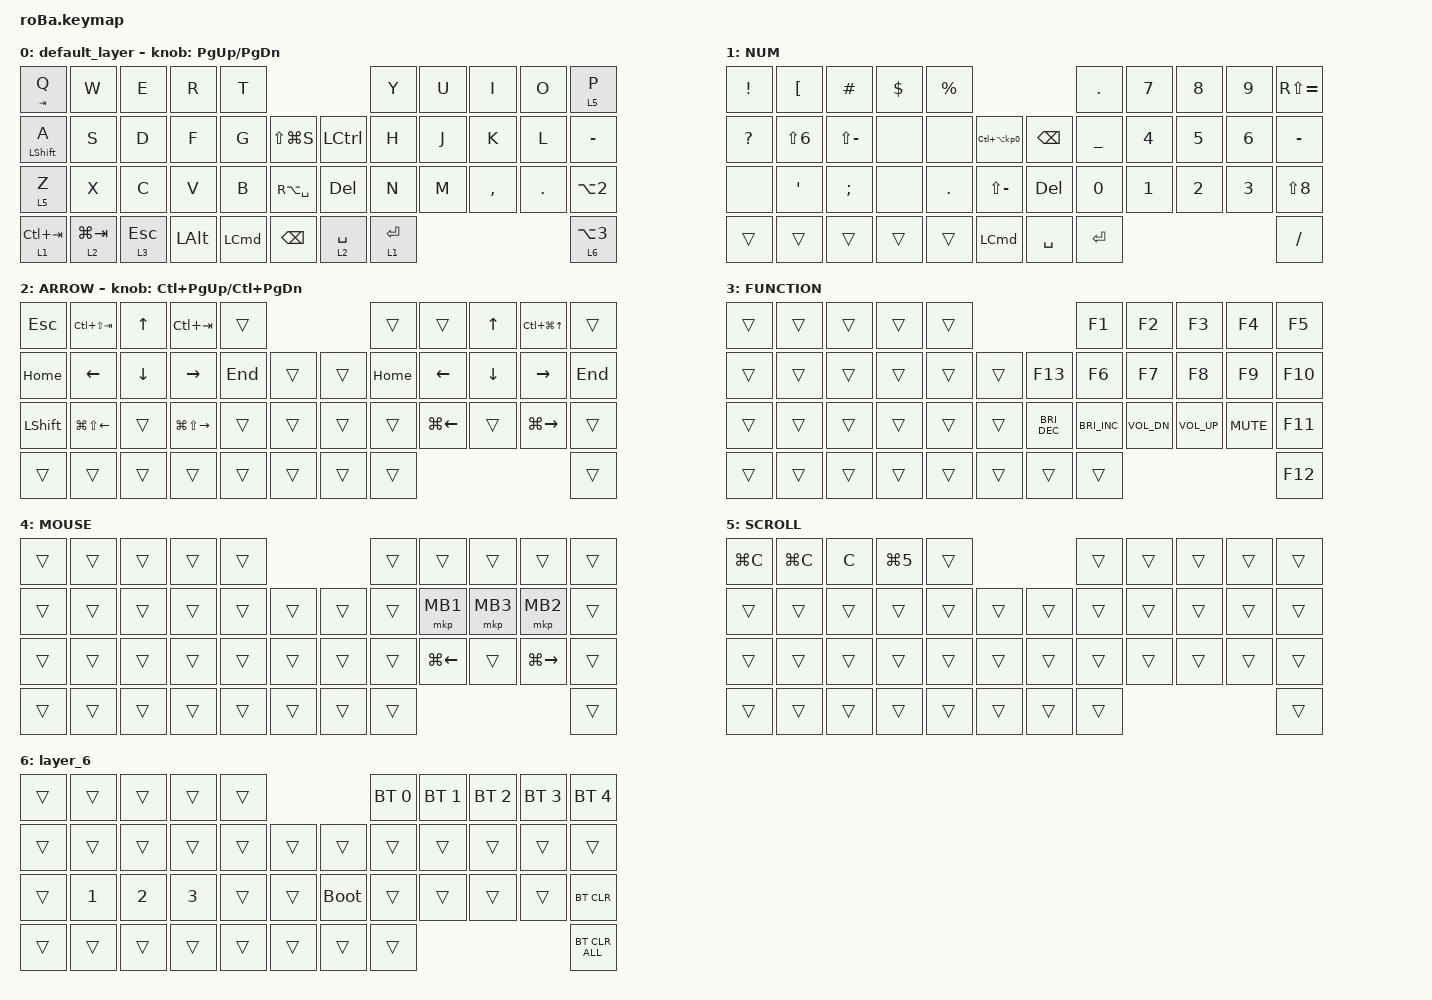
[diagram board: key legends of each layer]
#include <behaviors.dtsi>
#include <dt-bindings/zmk/bt.h>
#include <dt-bindings/zmk/keys.h>
#include <dt-bindings/zmk/pointing.h>

#define MOUSE 4
#define SCROLL 5
#define NUM 6

&mt {
    flavor = "balanced";
    quick-tap-ms = <0>;
};

/ {
    combos {
        compatible = "zmk,combos";

        left_parnethesis {
            bindings = <&kp LS(N8)>;
            key-positions = <11 12>;
        };

        right_parnenthesis {
            bindings = <&kp LS(N9)>;
            key-positions = <19 20>;
        };

        atmark {
            bindings = <&kp LS(NUMBER_2)>;
            key-positions = <13 12>;
        };

        tab {
            bindings = <&kp C_AL_DATABASE>;
            key-positions = <10 11>;
        };
    };

    macros {
        to_layer_0: to_layer_0 {
            compatible = "zmk,behavior-macro-one-param";
            #binding-cells = <1>;
            bindings = <&to 0 &macro_param_1to1 &kp MACRO_PLACEHOLDER>;
            label = "TO_LAYER_0";
        };
    };

    behaviors {
        lt_to_layer_0: lt_to_layer_0 {
            compatible = "zmk,behavior-hold-tap";
            label = "LAYER_TAP_TO_0";
            bindings = <&mo>, <&to_layer_0>;

            #binding-cells = <2>;
            tapping-term-ms = <200>;
        };
    };

    keymap {
        compatible = "zmk,keymap";

        default_layer {
            bindings = <
&mt TAB Q                 &kp W          &kp E         &kp R         &kp T                                             &kp Y        &kp U  &kp I      &kp O       &lt 5 P
&mt LEFT_SHIFT A          &kp S          &kp D         &kp F         &kp G             &kp LS(LG(S))      &kp LCTRL    &kp H        &kp J  &kp K      &kp L       &kp MINUS
&lt 5 Z                   &kp X          &kp C         &kp V         &kp B             &kp RA(SPACE)      &kp DEL      &kp N        &kp M  &kp COMMA  &kp PERIOD  &kp LA(NUMBER_2)
&lt_to_layer_0 1 LC(TAB)  &lt 2 LG(TAB)  &lt 3 ESCAPE  &kp LEFT_ALT  &kp LEFT_COMMAND  &kp BACKSPACE      &lt 2 SPACE  &lt 1 ENTER                                &lt 6 LA(NUMBER_3)
            >;

            sensor-bindings = <&inc_dec_kp PG_UP PAGE_DOWN>;
        };

        NUM {
            bindings = <
&kp EXCLAMATION  &kp LEFT_BRACKET  &kp HASH       &kp DOLLAR  &kp PERCENT                                              &kp PERIOD      &kp N7        &kp N8        &kp N9        &kp RS(EQUAL)
&kp QUESTION     &kp LS(NUMBER_6)  &kp LS(MINUS)  &none       &none        &kp LC(LA(KP_NUMBER_0))      &kp BACKSPACE  &kp UNDERSCORE  &kp NUMBER_4  &kp N5        &kp NUMBER_6  &kp MINUS
&none            &kp SQT           &kp SEMICOLON  &none       &kp PERIOD   &kp LS(MINUS)                &kp DELETE     &kp N0          &kp NUMBER_1  &kp NUMBER_2  &kp NUMBER_3  &kp LS(N8)
&trans           &trans            &trans         &trans      &trans       &kp LCMD                     &kp SPACE      &kp ENTER                                                 &kp SLASH
            >;
        };

        ARROW {
            bindings = <
&kp ESCAPE      &kp LC(LS(TAB))         &kp UP_ARROW    &kp LC(TAB)              &trans                       &trans    &trans          &kp UP_ARROW    &kp LC(LG(UP_ARROW))  &trans
&kp HOME        &kp LEFT_ARROW          &kp DOWN_ARROW  &kp RIGHT_ARROW          &kp END  &trans      &trans  &kp HOME  &kp LEFT_ARROW  &kp DOWN_ARROW  &kp RIGHT             &kp END
&kp LEFT_SHIFT  &kp LG(LS(LEFT_ARROW))  &trans          &kp LG(LS(RIGHT_ARROW))  &trans   &trans      &trans  &trans    &kp LG(LEFT)    &trans          &kp LG(RIGHT)         &trans
&trans          &trans                  &trans          &trans                   &trans   &trans      &trans  &trans                                                          &trans
            >;

            sensor-bindings = <&inc_dec_kp LC(PAGE_UP) LC(PAGE_DOWN)>;
        };

        FUNCTION {
            bindings = <
&trans  &trans  &trans  &trans  &trans                                    &kp F1                &kp F2        &kp F3           &kp F4      &kp F5
&trans  &trans  &trans  &trans  &trans  &trans      &kp F13               &kp F6                &kp F7        &kp F8           &kp F9      &kp F10
&trans  &trans  &trans  &trans  &trans  &trans      &kp C_BRIGHTNESS_DEC  &kp C_BRIGHTNESS_INC  &kp C_VOL_DN  &kp C_VOLUME_UP  &kp K_MUTE  &kp F11
&trans  &trans  &trans  &trans  &trans  &trans      &trans                &trans                                                           &kp F12
            >;
        };

        MOUSE {
            bindings = <
&trans  &trans  &trans  &trans  &trans                      &trans  &trans        &trans    &trans         &trans
&trans  &trans  &trans  &trans  &trans  &trans      &trans  &trans  &mkp MB1      &mkp MB3  &mkp MB2       &trans
&trans  &trans  &trans  &trans  &trans  &trans      &trans  &trans  &kp LG(LEFT)  &trans    &kp LG(RIGHT)  &trans
&trans  &trans  &trans  &trans  &trans  &trans      &trans  &trans                                         &trans
            >;
        };

        SCROLL {
            bindings = <
&kp LG(C)  &kp LG(C)  &kp C   &kp LG(N5)  &trans                      &trans  &trans  &trans  &trans  &trans
&trans     &trans     &trans  &trans      &trans  &trans      &trans  &trans  &trans  &trans  &trans  &trans
&trans     &trans     &trans  &trans      &trans  &trans      &trans  &trans  &trans  &trans  &trans  &trans
&trans     &trans     &trans  &trans      &trans  &trans      &trans  &trans                          &trans
            >;
        };

        layer_6 {
            bindings = <
&trans  &trans        &trans        &trans        &trans                           &bt BT_SEL 0  &bt BT_SEL 1  &bt BT_SEL 2  &bt BT_SEL 3  &bt BT_SEL 4
&trans  &trans        &trans        &trans        &trans  &trans      &trans       &trans        &trans        &trans        &trans        &trans
&trans  &kp NUMBER_1  &kp NUMBER_2  &kp NUMBER_3  &trans  &trans      &bootloader  &trans        &trans        &trans        &trans        &bt BT_CLR
&trans  &trans        &trans        &trans        &trans  &trans      &trans       &trans                                                  &bt BT_CLR_ALL
            >;
        };
    };
};
